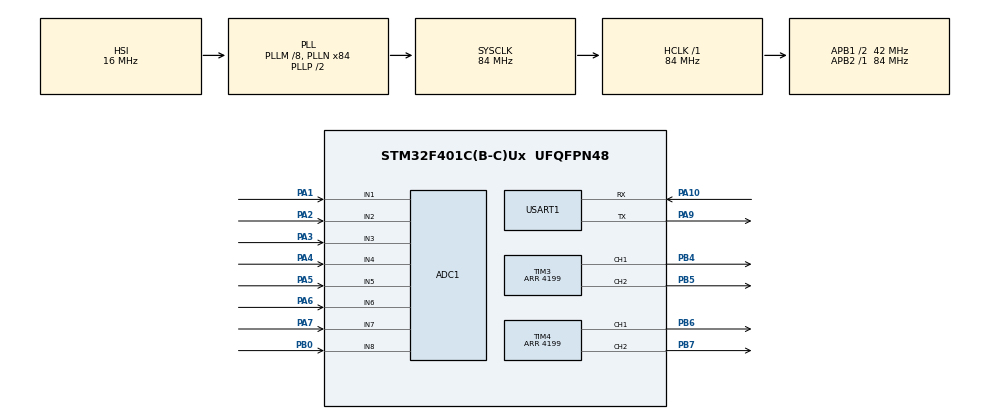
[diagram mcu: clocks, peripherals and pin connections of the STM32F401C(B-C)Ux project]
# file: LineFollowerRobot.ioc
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ADC1.Channel-0\#ChannelRegularConversion=ADC_CHANNEL_1
ADC1.Channel-1\#ChannelRegularConversion=ADC_CHANNEL_2
ADC1.Channel-2\#ChannelRegularConversion=ADC_CHANNEL_3
ADC1.Channel-3\#ChannelRegularConversion=ADC_CHANNEL_4
ADC1.Channel-4\#ChannelRegularConversion=ADC_CHANNEL_5
ADC1.Channel-5\#ChannelRegularConversion=ADC_CHANNEL_6
ADC1.Channel-6\#ChannelRegularConversion=ADC_CHANNEL_7
ADC1.Channel-7\#ChannelRegularConversion=ADC_CHANNEL_8
ADC1.ContinuousConvMode=ENABLE
ADC1.DMAContinuousRequests=ENABLE
ADC1.NbrOfConversion=8
ADC1.NbrOfConversionFlag=1
ADC1.Rank-0\#ChannelRegularConversion=1
ADC1.Rank-1\#ChannelRegularConversion=2
ADC1.Rank-2\#ChannelRegularConversion=3
ADC1.Rank-3\#ChannelRegularConversion=4
ADC1.Rank-4\#ChannelRegularConversion=5
ADC1.Rank-5\#ChannelRegularConversion=6
ADC1.Rank-6\#ChannelRegularConversion=7
ADC1.Rank-7\#ChannelRegularConversion=8
ADC1.SamplingTime-0\#ChannelRegularConversion=ADC_SAMPLETIME_144CYCLES
ADC1.SamplingTime-1\#ChannelRegularConversion=ADC_SAMPLETIME_144CYCLES
ADC1.SamplingTime-2\#ChannelRegularConversion=ADC_SAMPLETIME_144CYCLES
ADC1.SamplingTime-3\#ChannelRegularConversion=ADC_SAMPLETIME_144CYCLES
ADC1.SamplingTime-4\#ChannelRegularConversion=ADC_SAMPLETIME_144CYCLES
ADC1.SamplingTime-5\#ChannelRegularConversion=ADC_SAMPLETIME_144CYCLES
ADC1.SamplingTime-6\#ChannelRegularConversion=ADC_SAMPLETIME_144CYCLES
ADC1.SamplingTime-7\#ChannelRegularConversion=ADC_SAMPLETIME_144CYCLES
ADC1.ScanConvMode=ENABLE
ADC1.master=1
Dma.ADC1.0.Direction=DMA_PERIPH_TO_MEMORY
Dma.ADC1.0.FIFOMode=DMA_FIFOMODE_DISABLE
Dma.ADC1.0.Instance=DMA2_Stream0
Dma.ADC1.0.MemDataAlignment=DMA_MDATAALIGN_HALFWORD
Dma.ADC1.0.MemInc=DMA_MINC_ENABLE
Dma.ADC1.0.Mode=DMA_CIRCULAR
Dma.ADC1.0.PeriphDataAlignment=DMA_PDATAALIGN_HALFWORD
Dma.ADC1.0.PeriphInc=DMA_PINC_DISABLE
Dma.ADC1.0.Priority=DMA_PRIORITY_LOW
Dma.Request0=ADC1
Mcu.Family=STM32F4
Mcu.Name=STM32F401C(B-C)Ux
Mcu.Package=UFQFPN48
NVIC.DMA2_Stream0_IRQn=true\:0\:0\:false\:false\:true\:false\:true\:true
NVIC.PriorityGroup=NVIC_PRIORITYGROUP_4
NVIC.TIM2_IRQn=true\:0\:0\:false\:false\:true\:true\:true\:true
PA1.Signal=ADCx_IN1
PA10.Mode=Asynchronous
PA10.Signal=USART1_RX
PA2.Signal=ADCx_IN2
PA3.Signal=ADCx_IN3
PA4.Signal=ADCx_IN4
PA5.Signal=ADCx_IN5
PA6.Signal=ADCx_IN6
PA7.Signal=ADCx_IN7
PA9.Mode=Asynchronous
PA9.Signal=USART1_TX
PB0.Signal=ADCx_IN8
PB4.Signal=S_TIM3_CH1
PB5.Signal=S_TIM3_CH2
PB5.Signal=S_TIM3_CH2
PB6.Signal=S_TIM4_CH1
PB7.Signal=S_TIM4_CH2
ProjectManager.HeapSize=0x200
ProjectManager.StackSize=0x400
ProjectManager.TargetToolchain=STM32CubeIDE
RCC.48MHZClocksFreq_Value=42000000
RCC.AHBFreq_Value=84000000
RCC.APB1CLKDivider=RCC_HCLK_DIV2
RCC.APB1Freq_Value=42000000
RCC.APB1TimFreq_Value=84000000
RCC.APB2Freq_Value=84000000
RCC.APB2TimFreq_Value=84000000
RCC.CortexFreq_Value=84000000
RCC.HCLKFreq_Value=84000000
RCC.HSE_VALUE=25000000
RCC.HSI_VALUE=16000000
RCC.LSE_VALUE=32768
RCC.PLLM=8
RCC.PLLN=84
RCC.SYSCLKFreq_VALUE=84000000
RCC.SYSCLKSource=RCC_SYSCLKSOURCE_PLLCLK
RCC.VCOOutputFreq_Value=168000000
SH.ADCx_IN1.0=ADC1_IN1,IN1
SH.ADCx_IN2.0=ADC1_IN2,IN2
SH.ADCx_IN3.0=ADC1_IN3,IN3
SH.ADCx_IN4.0=ADC1_IN4,IN4
SH.ADCx_IN5.0=ADC1_IN5,IN5
SH.ADCx_IN6.0=ADC1_IN6,IN6
SH.ADCx_IN7.0=ADC1_IN7,IN7
SH.ADCx_IN8.0=ADC1_IN8,IN8
SH.S_TIM3_CH1.0=TIM3_CH1,PWM Generation1 CH1
SH.S_TIM3_CH2.0=TIM3_CH2,PWM Generation2 CH2
SH.S_TIM4_CH1.0=TIM4_CH1,PWM Generation1 CH1
SH.S_TIM4_CH2.0=TIM4_CH2,PWM Generation2 CH2
TIM2.Period=1999
TIM2.Prescaler=83
TIM3.Channel-PWM\ Generation1\ CH1=TIM_CHANNEL_1
TIM3.Channel-PWM\ Generation2\ CH2=TIM_CHANNEL_2
TIM3.Period=4199
TIM4.Channel-PWM\ Generation1\ CH1=TIM_CHANNEL_1
TIM4.Channel-PWM\ Generation2\ CH2=TIM_CHANNEL_2
TIM4.Period=4199
USART1.VirtualMode=VM_ASYNC
VP_TIM2_VS_ClockSourceINT.Mode=Internal
board=custom

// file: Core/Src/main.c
/* USER CODE BEGIN Header */
/**
  ******************************************************************************
  * @file           : main.c
  * @brief          : Main program body
  ******************************************************************************
  * @attention
  *
  * Copyright (c) 2026 STMicroelectronics.
  * All rights reserved.
  *
  * This software is licensed under terms that can be found in the LICENSE file
  * in the root directory of this software component.
  * If no LICENSE file comes with this software, it is provided AS-IS.
  *
  ******************************************************************************
  */
/* USER CODE END Header */
#include "main.h"
#include "adc.h"
#include "dma.h"
#include "tim.h"
#include "usart.h"
#include "gpio.h"

/* USER CODE BEGIN Includes */
#include "control.h"
#include "comm.h"
#include "motor.h"
#include <stdio.h>
/* USER CODE END Includes */

/* USER CODE BEGIN PV */

volatile uint16_t line_sensor_raw[SENSOR_COUNT];
PID_t pid;

volatile bool tick_flag = false;

/* Largada: 0 = liga PARADO e so anda com o comando RUN (seguro para calibrar).
 * Para competicao sem o ESP, coloque o atraso em ms (ex.: 3000 = anda 3 s apos ligar). */
#define AUTO_START_DELAY_MS   0

/* quantos ticks seguidos sem ver linha até considerar "perdida de fato"
 * (10 ticks a 500Hz = 20ms — ajuste se achar sensível demais ou de menos) */
#define LOST_DEBOUNCE_TICKS   10

/* Linha perdida NUNCA para o robo (prova de velocidade): ver Linha_Erro em control.c */

#define TICK_MS               2                 /* TIM2 a 500 Hz */

static uint32_t     lost_ticks = 0;             /* ticks seguidos sem ver linha */
static RobotState_t prev_state = STATE_INIT;    /* estado no tick anterior */

/* RobotState_t agora fica em control.h (comm.c tambem usa) */
volatile RobotState_t robot_state = STATE_INIT;

/* USER CODE END PV */

void SystemClock_Config(void);

/* USER CODE BEGIN 0 */

static void Sensors_StartADC(void)
{
    HAL_ADC_Start_DMA(&hadc1, (uint32_t*)line_sensor_raw, SENSOR_COUNT);
    /* O DMA circular atualiza line_sensor_raw sozinho; as interrupcoes de meia/fim de
     * transferencia so ocupariam a CPU (a cada poucos us) e travariam o loop e a UART. */
    __HAL_DMA_DISABLE_IT(hadc1.DMA_Handle, DMA_IT_HT | DMA_IT_TC);
    HAL_NVIC_DisableIRQ(DMA2_Stream0_IRQn);
}

/* Se o ADC der overrun, o DMA para e os sensores congelam: reinicia. */
static void Sensors_CheckADC(void)
{
    if (__HAL_ADC_GET_FLAG(&hadc1, ADC_FLAG_OVR)) {
        HAL_ADC_Stop_DMA(&hadc1);
        __HAL_ADC_CLEAR_FLAG(&hadc1, ADC_FLAG_OVR);
        Sensors_StartADC();
        Comm_SendLine("EVT ADC RESTART");
    }
}

#if MODO_MEDIR_DZ
/* Rampa de medicao da zona morta: sobe DZ_PASSO a cada DZ_PASSO_MS, sem compensacao */
static uint32_t dz_ticks = 0;

static void DZ_Passo(void)
{
    const uint32_t ticks_por_passo = DZ_PASSO_MS / TICK_MS;
    int32_t u = (int32_t)(dz_ticks / ticks_por_passo) * DZ_PASSO;

    if (dz_ticks % ticks_por_passo == 0) {
        if (u > U_MAX) {
            Motor_Freio();
            robot_state = STATE_PARADO;
            Comm_SendLine("DZ FIM");
            return;
        }
        char msg[24];
        snprintf(msg, sizeof(msg), "DZ %ld", (long)u);
        Comm_SendLine(msg);
    }
    Motor_ComandoBruto(u, u);
    dz_ticks++;
}
#endif

static bool Robot_IsMoving(RobotState_t s)
{
    return s == STATE_SEGUINDO_LINHA || s == STATE_LINHA_PERDIDA || s == STATE_TESTE_MOTOR;
}

/* USER CODE END 0 */

int main(void)
{

  /* MCU Configuration--------------------------------------------------------*/

  /* Reset of all peripherals, Initializes the Flash interface and the Systick. */
  HAL_Init();

  /* Configure the system clock */
  SystemClock_Config();

  /* Initialize all configured peripherals */
  MX_GPIO_Init();
  MX_DMA_Init();
  MX_ADC1_Init();
  MX_TIM2_Init();
  MX_TIM3_Init();
  MX_TIM4_Init();
  MX_USART1_UART_Init();
  /* USER CODE BEGIN 2 */

  Sensors_StartADC();
  Control_Init(&pid, 0.1f, 0.0f, 0.05f, 1000.0f);
  Comm_Init();                /* tem que vir DEPOIS do MX_USART1_UART_Init: arma a recepcao */
  HAL_TIM_Base_Start_IT(&htim2);

  /* USER CODE END 2 */

  /* Infinite loop */
  /* USER CODE BEGIN WHILE */

  while (1)
  {
      Comm_Process();
      Sensors_CheckADC();

      if (tick_flag) {
          tick_flag = false;

          /* Watchdog do link (comando WD): sem nada do ESP por muito tempo -> para */
          if (Robot_IsMoving(robot_state) && Comm_LinkTimedOut()) {
              Motors_Stop();
              motor_test_ticks = 0;
              robot_state = STATE_PARADO;
              Comm_SendLine("EVT WD STOP");
          }

          /* Entrou em seguir linha vindo de outro estado (RUN, largada): zera o contador */
          if (robot_state == STATE_SEGUINDO_LINHA &&
              prev_state != STATE_SEGUINDO_LINHA && prev_state != STATE_LINHA_PERDIDA) {
              lost_ticks = 0;
              Motors_ResetRampa();    /* parte de 0: as rodas estavam em freio */
#if MODO_MEDIR_DZ
              dz_ticks = 0;
#endif
          }

          switch (robot_state) {

              case STATE_INIT:
                  Motors_Stop();
#if AUTO_START_DELAY_MS > 0
                  if (HAL_GetTick() >= AUTO_START_DELAY_MS) {
                      PID_Reset(&pid);
                      LineSensor_ResetMemory();
                      robot_state = STATE_SEGUINDO_LINHA;
                  }
#else
                  robot_state = STATE_PARADO;     /* espera o RUN */
#endif
                  break;

              case STATE_SEGUINDO_LINHA:
              case STATE_LINHA_PERDIDA: {
#if MODO_MEDIR_DZ
                  DZ_Passo();
#else
                  /* Linha perdida: Linha_Erro devolve o ultimo erro valido ou +-ERRO_MAX
                   * (ver MARGEM_LADO). Nunca para os motores por perda de linha. */
                  bool seen;
                  int32_t error = Linha_Erro(&pid, &seen);

                  if (seen) {
                      lost_ticks = 0;
                      robot_state = STATE_SEGUINDO_LINHA;
                  } else if (++lost_ticks >= LOST_DEBOUNCE_TICKS) {
                      robot_state = STATE_LINHA_PERDIDA;     /* so informativo (STATUS) */
                  }

                  float pid_output = PID_Step(&pid, error);
                  Motors_ApplyPID(pid_output, error);
#endif
                  break;
              }

              case STATE_PARADO:
              case STATE_PARADO_SEGURANCA:
                  Motors_Stop();
                  break;

              case STATE_TESTE_MOTOR:
                  /* os motores ja foram ligados pelo comando MOTOR; aqui so conta o tempo */
                  if (motor_test_ticks > 0) {
                      motor_test_ticks--;
                  }
                  if (motor_test_ticks == 0) {
                      Motors_Stop();
                      robot_state = STATE_PARADO;
                      Comm_SendLine("EVT MOTOR DONE");
                  }
                  break;

              case STATE_CALIBRANDO:
                  Motor_Solto();      /* rodas soltas para arrastar o robo com a mao */
                  LineSensor_CalibSample();
                  break;

              default:
                  Motors_Stop();
                  break;
          }

          prev_state = robot_state;
      }

    /* USER CODE END WHILE */

  }
}

void SystemClock_Config(void)
{
  RCC_OscInitTypeDef RCC_OscInitStruct = {0};
  RCC_ClkInitTypeDef RCC_ClkInitStruct = {0};

  /** Configure the main internal regulator output voltage
  */
  __HAL_RCC_PWR_CLK_ENABLE();
  __HAL_PWR_VOLTAGESCALING_CONFIG(PWR_REGULATOR_VOLTAGE_SCALE2);

  /** Initializes the RCC Oscillators according to the specified parameters
  * in the RCC_OscInitTypeDef structure.
  */
  RCC_OscInitStruct.OscillatorType = RCC_OSCILLATORTYPE_HSI;
  RCC_OscInitStruct.HSIState = RCC_HSI_ON;
  RCC_OscInitStruct.HSICalibrationValue = RCC_HSICALIBRATION_DEFAULT;
  RCC_OscInitStruct.PLL.PLLState = RCC_PLL_ON;
  RCC_OscInitStruct.PLL.PLLSource = RCC_PLLSOURCE_HSI;
  RCC_OscInitStruct.PLL.PLLM = 8;
  RCC_OscInitStruct.PLL.PLLN = 84;
  RCC_OscInitStruct.PLL.PLLP = RCC_PLLP_DIV2;
  RCC_OscInitStruct.PLL.PLLQ = 4;
  if (HAL_RCC_OscConfig(&RCC_OscInitStruct) != HAL_OK)
  {
    Error_Handler();
  }

  /** Initializes the CPU, AHB and APB buses clocks
  */
  RCC_ClkInitStruct.ClockType = RCC_CLOCKTYPE_HCLK|RCC_CLOCKTYPE_SYSCLK
                              |RCC_CLOCKTYPE_PCLK1|RCC_CLOCKTYPE_PCLK2;
  RCC_ClkInitStruct.SYSCLKSource = RCC_SYSCLKSOURCE_PLLCLK;
  RCC_ClkInitStruct.AHBCLKDivider = RCC_SYSCLK_DIV1;
  RCC_ClkInitStruct.APB1CLKDivider = RCC_HCLK_DIV2;
  RCC_ClkInitStruct.APB2CLKDivider = RCC_HCLK_DIV1;

  if (HAL_RCC_ClockConfig(&RCC_ClkInitStruct, FLASH_LATENCY_2) != HAL_OK)
  {
    Error_Handler();
  }
}

/* USER CODE BEGIN 4 */

void HAL_TIM_PeriodElapsedCallback(TIM_HandleTypeDef *htim)
{
    if (htim->Instance == TIM2) {
        tick_flag = true;
    }
}

/* USER CODE END 4 */

void Error_Handler(void)
{
  __disable_irq();
  while (1)
  {
  }
}
